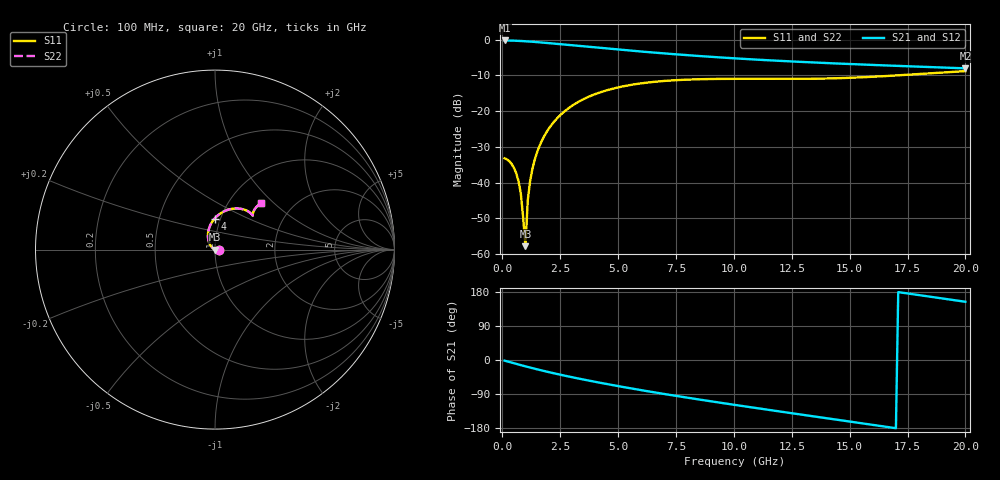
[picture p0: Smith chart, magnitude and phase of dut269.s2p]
! Created with skrf 1.9.0 (http://scikit-rf.org).
# GHz S RI R 50.0
!freq ReS11 ImS11 ReS21 ImS21 ReS12 ImS12 ReS22 ImS22
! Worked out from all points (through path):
!   200 points, 100 MHz to 20 GHz, reference 50 ohm
!   highest |S21| = -0.20 dB at 100 MHz (marker M1); lowest = -8.0 dB at 20 GHz (marker M2)
!   group delay of S21, straight-line fit = 27.1 ps
!   lowest |S11| = -57.8 dB at 1 GHz (marker M3), VSWR 1.00, Z = 49.9 - j0.0189 ohm
!   |S11| at or under -10 dB: start of sweep to 16.98 GHz
!   |S22| runs from -57.8 to -8.8 dB; largest |S21 - S12| = 2.5e-15
!   S11 on the Smith chart (normalised r, x): 100 MHz: 1.04, -0.00; 4 GHz: 0.94, +0.33; 20 GHz: 1.40, +0.83
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0.1  0.0219 -0.00115  0.9771 -0.0294  0.9771 -0.0294  0.0219 -0.00115
0.4  0.0179 -0.0039  0.9664 -0.1161  0.9664 -0.1161  0.0179 -0.0039
0.6  0.0128 -0.00443  0.9526 -0.1718  0.9526 -0.1718  0.0128 -0.00443
0.7  0.00971 -0.0041  0.944 -0.1987  0.944 -0.1987  0.00971 -0.0041
0.8  0.00626 -0.0033  0.9343 -0.2249  0.9343 -0.2249  0.00626 -0.0033
0.9  0.00257 -0.00201  0.9236 -0.2504  0.9236 -0.2504  0.00257 -0.00201
1  -0.00128 -0.000189  0.9119 -0.275  0.9119 -0.275  -0.00128 -0.000189
1.1  -0.00523 0.00216  0.8994 -0.2988  0.8994 -0.2988  -0.00523 0.00216
1.2  -0.00919 0.00505  0.8862 -0.3218  0.8862 -0.3218  -0.00919 0.00505
1.4  -0.0169 0.0124  0.8578 -0.365  0.8578 -0.365  -0.0169 0.0124
1.6  -0.024 0.0216  0.8273 -0.4047  0.8273 -0.4047  -0.024 0.0216
2  -0.0346 0.0447  0.7619 -0.4738  0.7619 -0.4738  -0.0346 0.0447
2.4  -0.0393 0.0715  0.6934 -0.5303  0.6934 -0.5303  -0.0393 0.0715
2.9  -0.0363 0.1066  0.6063 -0.5855  0.6063 -0.5855  -0.0363 0.1066
3.5  -0.0214 0.1456  0.5031 -0.6325  0.5031 -0.6325  -0.0214 0.1456
4  -0.00218 0.173  0.4196 -0.6583  0.4196 -0.6583  -0.00218 0.173
5.2  0.0552 0.2153  0.2339 -0.6811  0.2339 -0.6811  0.0552 0.2153
6.8  0.1273 0.2291  0.0256 -0.6509  0.0256 -0.6509  0.1273 0.2291
10.1  0.2015 0.2001  -0.2657 -0.479  -0.2657 -0.479  0.2015 0.2001
13.4  0.2102 0.1918  -0.4099 -0.2526  -0.4099 -0.2526  0.2102 0.1918
16.7  0.2194 0.2223  -0.4348 -0.0201  -0.4348 -0.0201  0.2194 0.2223
20  0.2573 0.2575  -0.3569 0.1765  -0.3569 0.1765  0.2573 0.2575
